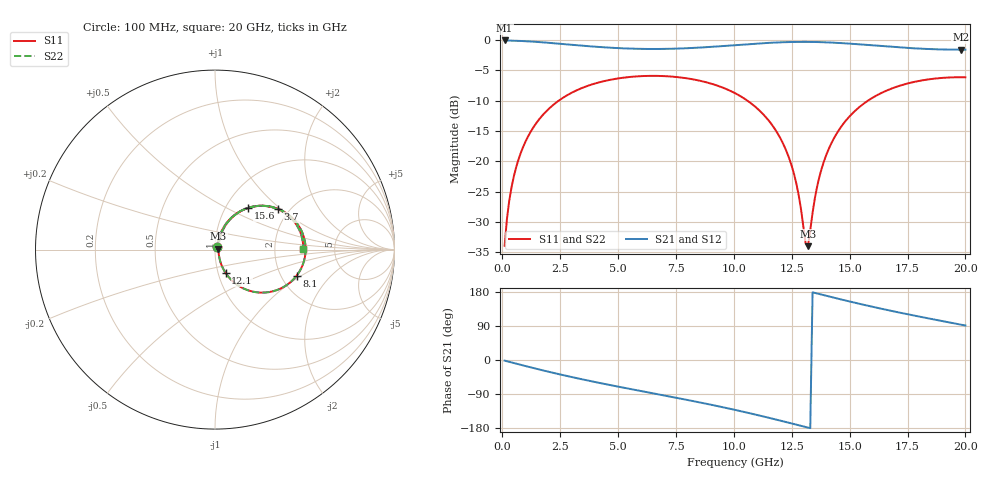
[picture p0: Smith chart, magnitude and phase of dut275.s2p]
! Touchstone file exported from HFSS 2026.1.0
!  File:  C:/ffzhzh/LocalFiles/Ansys_Project_Files/temp_train_TSV_RDL_275_1783084939_35048.aedt
!  Generated:  09:38:49 PM Jul  3, 2026
!  Design:  TSV_RDL
!  Project:  temp_train_TSV_RDL_275_1783084939_35048
! Variables:
!  h_bsmrdl = 5.23um
!  h_ox = 20um
!  h_rdl = 5um
!  h_sub = 99.96um
!  h_tmrdl = 5.18um
!  h_tsv = 99.96um
!  h_via = 3um
!  l_bsmrdl = 804.53um
!  l_sub = 4444.51um
!  l_tmrdl = 364.98um
!  m_sub = 200um
!  pitch = 58.92um
!  r_tsv = 5.93um
!  s_tmrdl = 10um
!  w_bsmrdl = 29.97um
!  w_sub = 500um
!  w_tmrdl = 27.03um
!  x_tsv_center1 = 378.495um
!  x_tsv_center2 = 1212.995um
!  x_tsv_center3 = 1605.005um
!  x_tsv_center4 = 2439.505um
!  x_tsv_center5 = 2831.515um
!  x_tsv_center6 = 3666.015um
# GHz S MA R 50.000000
! Terminal data exported
! Port[1] = TM_RDL1_1_T1
! Port[2] = TM_RDL5_1_T1
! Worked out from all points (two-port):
!   200 points, 100 MHz to 20 GHz, reference 50 ohm
!   highest |S21| = -0.11 dB at 100 MHz (marker M1); lowest = -1.6 dB at 19.8 GHz (marker M2)
!   |S21| within 3 dB of the highest: start of sweep to end of sweep
!   lowest |S11| = -34.0 dB at 13.2 GHz (marker M3), VSWR 1.04, Z = 52 + j0.551 ohm
!   |S11| at or under -10 dB: start of sweep to 2.446 GHz; 10.58 GHz to 15.8 GHz (5.223 GHz wide, 39.6 % of centre)
!   |S22| runs from -34.0 to -5.9 dB; largest |S21 - S12| = 2e-14
!   S11 on the Smith chart (normalised r, x): 100 MHz: 1.03, +0.03; 3.7 GHz: 1.75, +0.96; 8.1 GHz: 2.43, -0.91; 12.1 GHz: 1.09, -0.29; 15.6 GHz: 1.27, +0.65; 20 GHz: 2.93, +0.01
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0.1  0.02016 49.9  0.9873 -1.7  0.9873 -1.7  0.02016 49.9
! Gamma 0 0 0 0
! Port Impedance 50 0 50 0
0.3  0.04728 68.1  0.9851 -4.9  0.9851 -4.9  0.04728 68.1
0.5  0.07536 70.9  0.9828 -8.0  0.9828 -8.0  0.07536 70.9
1.1  0.1583 66.7  0.9715 -17.5  0.9715 -17.5  0.1583 66.7
2.1  0.2803 53.7  0.941 -32.5  0.941 -32.5  0.2803 53.7
3.5  0.405 35.4  0.8925 -51.7  0.8925 -51.7  0.405 35.4
3.7  0.4184 32.9  0.8862 -54.2  0.8862 -54.2  0.4184 32.9
6.8  0.5039 -2.9  0.8405 -91.3  0.8405 -91.3  0.5039 -2.9
8.1  0.4775 -17.7  0.8544 -106.7  0.8544 -106.7  0.4775 -17.7
10.1  0.3595 -41.8  0.9047 -132.3  0.9047 -132.3  0.3595 -41.8
11.3  0.2401 -56.9  0.9383 -149.3  0.9383 -149.3  0.2401 -56.9
12.1  0.1431 -65.5  0.9544 -161.4  0.9544 -161.4  0.1431 -65.5
12.6  0.0784 -66.5  0.9599 -169.0  0.9599 -169.0  0.0784 -66.5
13.1  0.02103 -21.7  0.9612 -176.8  0.9612 -176.8  0.02101 -21.7
13.2  0.02001 15.3  0.9609 -178.3  0.9609 -178.3  0.01998 15.3
13.4  0.03768 56.3  0.9598 178.6  0.9598 178.6  0.03766 56.3
13.7  0.07517 67.7  0.9569 173.9  0.9569 173.9  0.07515 67.7
14.2  0.1392 67.2  0.949 166.3  0.949 166.3  0.1392 67.2
15.6  0.2972 51.4  0.912 145.8  0.912 145.8  0.2972 51.4
16.7  0.389 37.9  0.8784 130.9  0.8784 130.9  0.389 37.9
19.8  0.4916 2.3  0.829 93.4  0.829 93.4  0.4916 2.3
20  0.491 0.1  0.8293 91.0  0.8293 91.0  0.491 0.1
